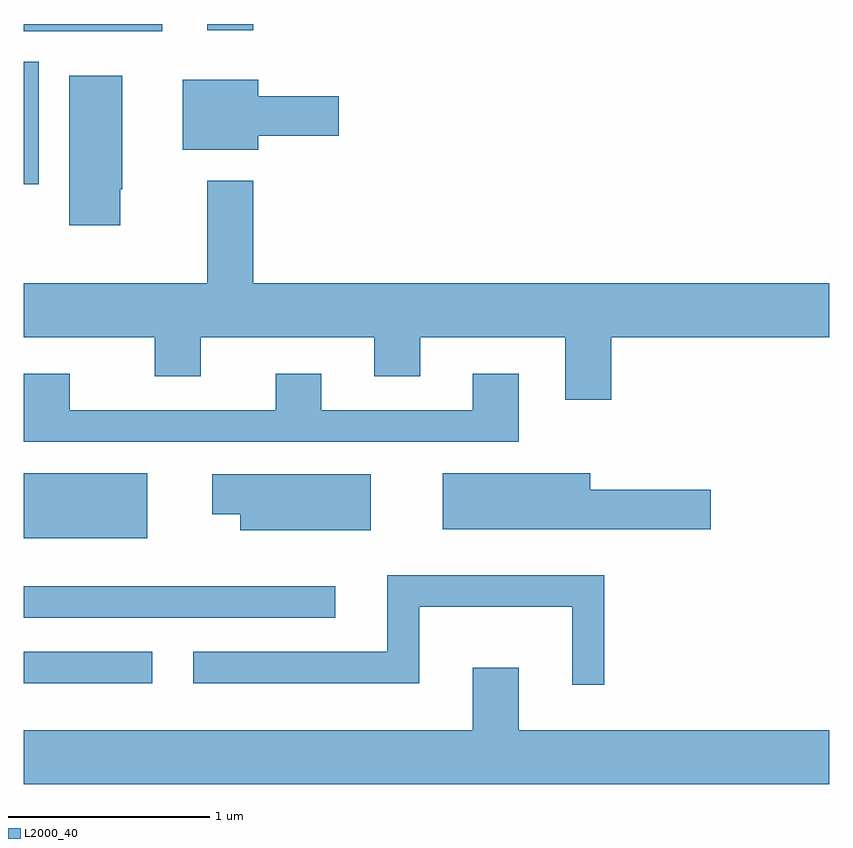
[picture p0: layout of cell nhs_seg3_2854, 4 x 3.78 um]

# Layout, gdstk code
import gdstk
lib = gdstk.Library(unit=1e-6, precision=1e-09)
def R(c, l, rs):  # rectangles x0, y0, x1, y1
    for r in rs: c.add(gdstk.rectangle(r[:2], r[2:], *l))
def P(c, l, *ps):  # polygons
    for p in ps: c.add(gdstk.Polygon(p, *l))
L2000_40 = (2000, 40)

nhs_seg3_2854 = lib.new_cell('nhs_seg3_2854')
R(nhs_seg3_2854, L2000_40, [(267.611,1248.616,268.248,1248.774), (267.611,1248.941,269.158,1249.099), (267.611,1249.336,268.224,1249.659), (267.611,1251.096,267.684,1251.704), (267.611,1251.856,268.298,1251.892), (268.521,1251.861,268.749,1251.892)])
P(nhs_seg3_2854, L2000_40, [(268.089,1251.07),(268.099,1251.07),(268.099,1251.634),(267.836,1251.634),(267.836,1250.891),(268.089,1250.891)],
  [(268.774,1251.336),(269.174,1251.336),(269.174,1251.534),(268.774,1251.534),(268.774,1251.614),(268.401,1251.614),(268.401,1251.266),(268.774,1251.266)],
  [(268.749,1251.114),(268.521,1251.114),(268.521,1250.604),(267.611,1250.604),(267.611,1250.336),(268.261,1250.336),(268.261,1250.141),(268.489,1250.141),(268.489,1250.336),(269.351,1250.336),(269.351,1250.141),(269.579,1250.141),(269.579,1250.336),(270.301,1250.336),(270.301,1250.026),(270.529,1250.026),(270.529,1250.336),(271.611,1250.336),(271.611,1250.604),(268.749,1250.604)],
  [(270.069,1250.154),(269.841,1250.154),(269.841,1249.974),(269.089,1249.974),(269.089,1250.154),(268.861,1250.154),(268.861,1249.974),(267.839,1249.974),(267.839,1250.154),(267.611,1250.154),(267.611,1249.816),(270.069,1249.816)],
  [(271.024,1249.579),(270.424,1249.579),(270.424,1249.659),(269.691,1249.659),(269.691,1249.381),(271.024,1249.381)],
  [(269.334,1249.654),(268.546,1249.654),(268.546,1249.456),(268.686,1249.456),(268.686,1249.376),(269.334,1249.376)],
  [(270.494,1249.154),(269.416,1249.154),(269.416,1248.774),(268.453,1248.774),(268.453,1248.616),(269.574,1248.616),(269.574,1248.996),(270.336,1248.996),(270.336,1248.608),(270.494,1248.608)],
  [(271.611,1248.384),(270.069,1248.384),(270.069,1248.694),(269.841,1248.694),(269.841,1248.384),(267.611,1248.384),(267.611,1248.116),(271.611,1248.116)])

lib.write_gds('nhs_seg3_2854.gds')
